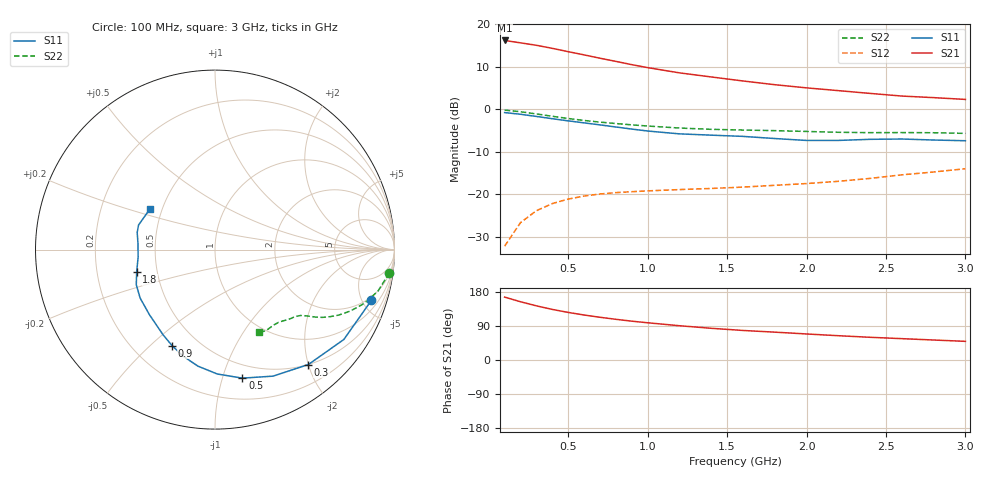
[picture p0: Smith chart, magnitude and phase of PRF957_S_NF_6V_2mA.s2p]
! Philips part #:  PRF957  Date:  Nov 1998
! Bias condition:  Vce=6V, Ic=2mA
#  MHz  S  MA  R 50
! Freq  S11  S21  S12  S22
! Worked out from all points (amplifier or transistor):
!   20 points, 100 MHz to 3 GHz, reference 50 ohm
!   highest |S21| = 16.2 dB at 100 MHz (marker M1)
!   |S21| within 3 dB of that: start of sweep to 548.1 MHz
!   unconditionally stable (mu >= 1): 1.837 GHz to end of sweep
!   at 400 MHz: K = 0.24, MSG = 18.3 dB, |S12| = -22.2 dB
!   at 1.2 GHz: K = 0.72, MSG = 13.7 dB, |S12| = -18.9 dB
!   at 3 GHz: K = 1.09, MAG = 6.3 dB, |S12| = -14.0 dB
!   lowest NFmin = 0.93 dB at 500 MHz
!   S11 on the Smith chart (normalised r, x): 100 MHz: 1.66, -5.86; 300 MHz: 0.50, -2.00; 500 MHz: 0.38, -1.16; 900 MHz: 0.36, -0.59; 1.8 GHz: 0.38, -0.12; 3 GHz: 0.43, +0.24
100  0.9163 -18.0  6.464 166.0  0.02455 79.6  0.9799 -7.6
200  0.8753 -34.9  6.058 153.7  0.04641 70.7  0.9366 -14.4
300  0.8248 -51.0  5.672 142.9  0.06418 63.3  0.8829 -19.9
400  0.7756 -65.4  5.22 133.5  0.07776 57.5  0.8287 -24.4
500  0.7322 -78.0  4.772 125.6  0.08786 53.3  0.7804 -27.9
600  0.6932 -89.0  4.374 118.7  0.09541 50.1  0.7399 -30.4
700  0.6564 -98.3  3.995 112.8  0.1009 48.0  0.7077 -32.2
800  0.6199 -106.6  3.668 107.4  0.1047 46.5  0.6805 -33.6
900  0.5861 -114.1  3.357 102.5  0.1074 45.8  0.6569 -34.6
1000  0.5558 -121.4  3.097 98.2  0.1098 45.7  0.6362 -35.6
1200  0.5146 -135.3  2.688 90.5  0.1137 46.3  0.6027 -37.5
1400  0.4969 -147.1  2.405 83.7  0.1173 47.9  0.5817 -39.9
1600  0.4804 -155.9  2.157 77.9  0.1216 51.1  0.5707 -42.2
1800  0.4535 -164.2  1.95 73.5  0.1276 54.8  0.5616 -44.2
2000  0.4304 -174.3  1.789 68.7  0.1339 58.6  0.5493 -46.2
2200  0.4307 175.3  1.661 64.1  0.1422 62.3  0.537 -49.3
2400  0.4438 167.6  1.54 59.9  0.1539 65.6  0.5318 -53.0
2600  0.4474 162.2  1.433 56.3  0.1696 68.7  0.533 -56.3
2800  0.4355 156.2  1.373 52.7  0.1832 71.5  0.5304 -59.1
3000  0.4271 148.0  1.309 49.2  0.2001 73.9  0.5213 -62.3
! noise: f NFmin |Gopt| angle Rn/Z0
500  0.93  0.48  39  0.25
800  1.05  0.46  43  0.28
900  1.1  0.48  65  0.26
1000  1.31  0.45  71  0.26
1500  1.34  0.44  112  0.22
2000  1.86  0.39  168  0.12
